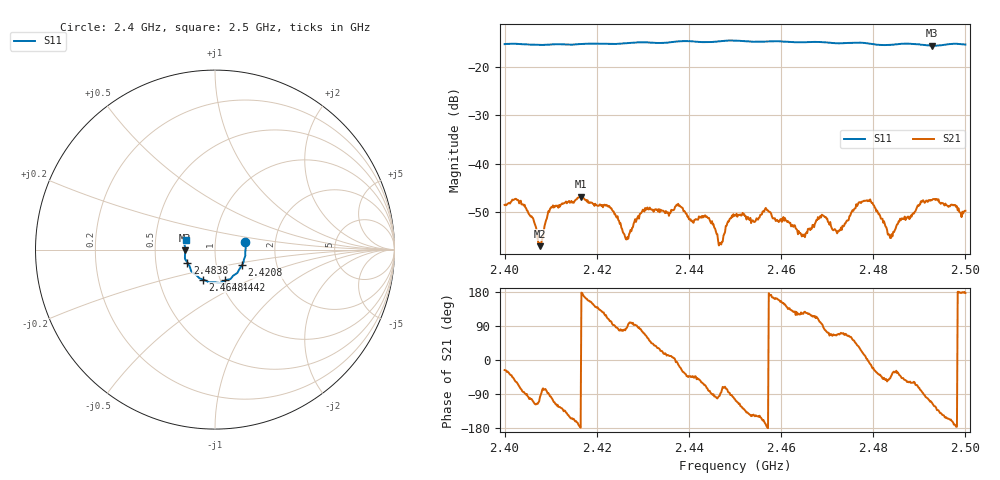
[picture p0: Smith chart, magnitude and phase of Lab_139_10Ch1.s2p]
# Hz S RI R 50
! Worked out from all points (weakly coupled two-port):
!   601 points, 2.4 GHz to 2.5 GHz, reference 50 ohm
!   highest |S21| = -46.75 dB at 2.4165 GHz (marker M1); lowest = -57.0 dB at 2.4077 GHz (marker M2)
!   lowest |S11| = -15.6 dB at 2.4928 GHz (marker M3), VSWR 1.40, Z = 35.8 - j0.349 ohm
!   |S11| at or under -10 dB: start of sweep to end of sweep
!   S12 and S22 are empty: the file has one direction only
!   S11 on the Smith chart (normalised r, x): 2.4 GHz: 1.40, +0.12; 2.4208 GHz: 1.33, -0.24; 2.4442 GHz: 1.05, -0.37; 2.4648 GHz: 0.83, -0.29; 2.4838 GHz: 0.73, -0.11; 2.5 GHz: 0.72, +0.08
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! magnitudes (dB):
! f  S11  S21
! 2.4 GHz  -15.3  -48.5
! 2.4038 GHz  -15.3  -48.4
! 2.4077 GHz  -15.4  -57.0
! 2.41 GHz  -15.3  -49.1
! 2.4165 GHz  -15.2  -46.7
! 2.4167 GHz  -15.2  -46.8
! 2.4208 GHz  -15.2  -48.5
! 2.4265 GHz  -15.1  -55.6
! 2.4333 GHz  -15.0  -49.9
! 2.4442 GHz  -14.9  -51.2
! 2.4468 GHz  -14.7  -56.3
! 2.45 GHz  -14.5  -50.6
! 2.457 GHz  -14.7  -49.6
! 2.4648 GHz  -14.9  -54.9
! 2.4667 GHz  -14.8  -53.4
! 2.469 GHz  -14.9  -50.6
! 2.4727 GHz  -15.1  -53.7
! 2.4788 GHz  -15.1  -47.7
! 2.4833 GHz  -15.5  -54.6
! 2.4838 GHz  -15.4  -55.3
! 2.4928 GHz  -15.6  -47.4
! 2.5 GHz  -15.4  -49.7
